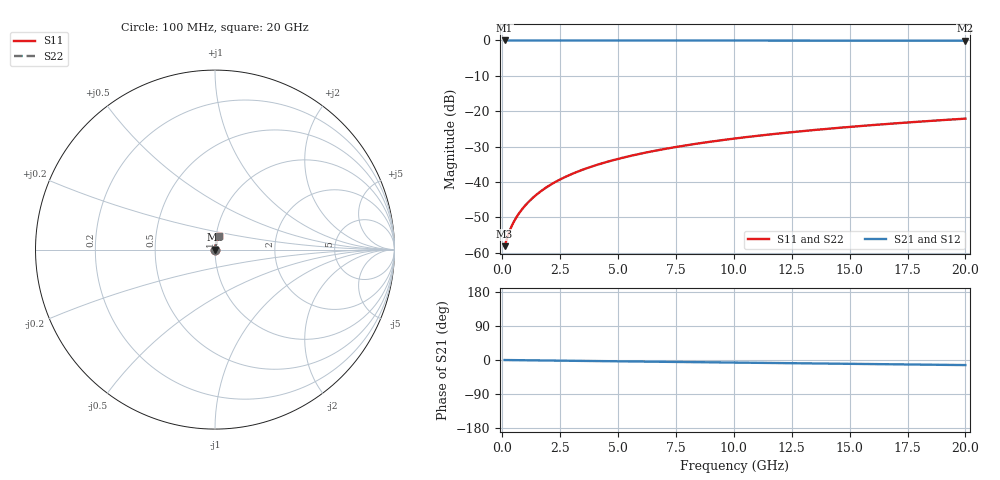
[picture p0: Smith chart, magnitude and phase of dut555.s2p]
! Touchstone file exported from HFSS 2026.1.0
!  File:  C:/ffzhzh/LocalFiles/Ansys_Project_Files/temp_train_BSMRDL_555_1783015214_55676.aedt
!  Generated:  02:01:34 AM Jul  3, 2026
!  Design:  BSMRDL
!  Project:  temp_train_BSMRDL_555_1783015214_55676
! Variables:
!  h_bsmrdl = 3.48um
!  h_ox = 20um
!  h_rdl = 5um
!  h_sub = 80um
!  h_tmrdl = 5um
!  h_tsv = 80um
!  h_via = 3um
!  l_bsmrdl = 203.53um
!  l_sub = 603.53um
!  l_tmrdl = 200um
!  m_sub = 200um
!  pitch = 34.53um
!  r_tsv = 6um
!  s_tmrdl = 10um
!  w_bsmrdl = 23.92um
!  w_sub = 500um
!  w_tmrdl = 12um
!  x_tsv_center1 = 206um
!  x_tsv_center2 = 433.45um
!  x_tsv_center3 = 645.45um
!  x_tsv_center4 = 872.9um
!  x_tsv_center5 = 1084.9um
!  x_tsv_center6 = 1312.35um
# GHz S MA R 50.000000
! Terminal data exported
! Port[1] = BSM_RDL1_1_T1
! Port[2] = BSM_RDL1_1_T2
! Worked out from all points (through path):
!   200 points, 100 MHz to 20 GHz, reference 50 ohm
!   highest |S21| = -0.01 dB at 100 MHz (marker M1); lowest = -0.1 dB at 20 GHz (marker M2)
!   group delay of S21, straight-line fit = 1.86 ps
!   lowest |S11| = -58.1 dB at 100 MHz (marker M3), VSWR 1.00, Z = 50.1 + j0.0554 ohm
!   |S11| at or under -10 dB: start of sweep to end of sweep
!   |S22| runs from -58.1 to -22.1 dB; largest |S21 - S12| = 5e-15
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0.1  0.001244 26.4  0.9989 -0.1  0.9989 -0.1  0.001244 26.4
! Gamma 0 0 0 0
! Port Impedance 50 0 50 0
0.2  0.001599 41.6  0.9988 -0.1  0.9988 -0.1  0.001599 41.6
0.3  0.001992 49.8  0.9987 -0.2  0.9987 -0.2  0.001992 49.8
0.4  0.002379 55.1  0.9986 -0.3  0.9986 -0.3  0.002379 55.1
0.5  0.002762 59.1  0.9986 -0.4  0.9986 -0.4  0.002762 59.1
0.6  0.003144 62.2  0.9985 -0.4  0.9985 -0.4  0.003144 62.2
0.8  0.003918 66.9  0.9985 -0.6  0.9985 -0.6  0.003918 66.9
1  0.00471 70.2  0.9984 -0.7  0.9984 -0.7  0.00471 70.2
1.2  0.005516 72.5  0.9984 -0.8  0.9984 -0.8  0.005516 72.5
1.7  0.00757 76.2  0.9983 -1.2  0.9983 -1.2  0.00757 76.2
2.2  0.00965 78.1  0.9982 -1.5  0.9982 -1.5  0.00965 78.1
2.8  0.01215 79.3  0.9981 -1.9  0.9981 -1.9  0.01215 79.3
3.5  0.01507 80.0  0.9979 -2.4  0.9979 -2.4  0.01507 80.0
4.2  0.01796 80.2  0.9977 -2.9  0.9977 -2.9  0.01796 80.2
5  0.02124 80.2  0.9974 -3.4  0.9974 -3.4  0.02124 80.2
5.9  0.02489 80.0  0.9971 -4.0  0.9971 -4.0  0.02489 80.0
6.8  0.0285 79.6  0.9968 -4.6  0.9968 -4.6  0.0285 79.6
8.3  0.03443 79.0  0.9962 -5.7  0.9962 -5.7  0.03443 79.0
10.1  0.04144 78.1  0.9955 -6.9  0.9955 -6.9  0.04144 78.1
13.4  0.05405 76.3  0.9942 -9.0  0.9942 -9.0  0.05405 76.3
16.7  0.06644 74.5  0.9929 -11.2  0.9929 -11.2  0.06644 74.5
20  0.07862 72.6  0.9915 -13.4  0.9915 -13.4  0.07862 72.6
